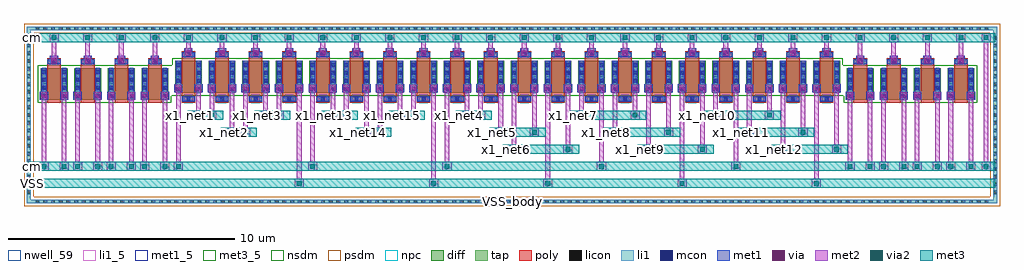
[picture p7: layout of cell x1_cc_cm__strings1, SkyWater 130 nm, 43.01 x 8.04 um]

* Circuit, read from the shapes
.subckt x1_cc_cm__strings1 VSS VSS_body cm x1_net1 x1_net10 x1_net11 x1_net12 x1_net13 x1_net14 x1_net15 x1_net2 x1_net3 x1_net4 x1_net5 x1_net6 x1_net7 x1_net8 x1_net9
XM1 cm cm cm VSS_body sky130_fd_pr__nfet_01v8 w=1.4 l=0.6 m=8
XM2 x1_net1 cm cm VSS_body sky130_fd_pr__nfet_01v8 w=1.4 l=0.6
XM3 x1_net2 cm x1_net1 VSS_body sky130_fd_pr__nfet_01v8 w=1.4 l=0.6
XM4 x1_net3 cm x1_net2 VSS_body sky130_fd_pr__nfet_01v8 w=1.4 l=0.6
XM5 VSS cm x1_net3 VSS_body sky130_fd_pr__nfet_01v8 w=1.4 l=0.6
XM6 x1_net13 cm cm VSS_body sky130_fd_pr__nfet_01v8 w=1.4 l=0.6
XM7 x1_net14 cm x1_net13 VSS_body sky130_fd_pr__nfet_01v8 w=1.4 l=0.6
XM8 x1_net15 cm x1_net14 VSS_body sky130_fd_pr__nfet_01v8 w=1.4 l=0.6
XM9 VSS cm x1_net15 VSS_body sky130_fd_pr__nfet_01v8 w=1.4 l=0.6
XM10 x1_net4 cm cm VSS_body sky130_fd_pr__nfet_01v8 w=1.4 l=0.6
XM11 x1_net5 cm x1_net4 VSS_body sky130_fd_pr__nfet_01v8 w=1.4 l=0.6
XM12 x1_net5 cm x1_net6 VSS_body sky130_fd_pr__nfet_01v8 w=1.4 l=0.6
XM13 x1_net6 cm VSS VSS_body sky130_fd_pr__nfet_01v8 w=1.4 l=0.6
XM14 cm cm x1_net7 VSS_body sky130_fd_pr__nfet_01v8 w=1.4 l=0.6
XM15 x1_net7 cm x1_net8 VSS_body sky130_fd_pr__nfet_01v8 w=1.4 l=0.6
XM16 x1_net8 cm x1_net9 VSS_body sky130_fd_pr__nfet_01v8 w=1.4 l=0.6
XM17 x1_net9 cm VSS VSS_body sky130_fd_pr__nfet_01v8 w=1.4 l=0.6
XM18 cm cm x1_net10 VSS_body sky130_fd_pr__nfet_01v8 w=1.4 l=0.6
XM19 x1_net10 cm x1_net11 VSS_body sky130_fd_pr__nfet_01v8 w=1.4 l=0.6
XM20 x1_net11 cm x1_net12 VSS_body sky130_fd_pr__nfet_01v8 w=1.4 l=0.6
XM21 x1_net12 cm VSS VSS_body sky130_fd_pr__nfet_01v8 w=1.4 l=0.6
.ends

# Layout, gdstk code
from math import pi, radians
import gdstk
lib = gdstk.Library(unit=1e-6, precision=1e-09)
def R(c, l, rs):  # rectangles x0, y0, x1, y1
    for r in rs: c.add(gdstk.rectangle(r[:2], r[2:], *l))
def A(c, l, x, y, w, h, nx, ny, dx, dy):  # array of equal rectangles
    R(c, l, [(x+i*dx, y+j*dy, x+i*dx+w, y+j*dy+h) for i in range(nx) for j in range(ny)])
nwell_59 = (64, 59)
diff = (65, 20)
tap = (65, 44)
poly = (66, 20)
licon = (66, 44)
li1_5 = (67, 5)
li1 = (67, 20)
mcon = (67, 44)
met1_5 = (68, 5)
met1 = (68, 20)
via = (68, 44)
met2 = (69, 20)
via2 = (69, 44)
met3_5 = (70, 5)
met3 = (70, 20)
nsdm = (93, 44)
psdm = (94, 20)
npc = (95, 20)

sky130_fd_pr__nfet_01v8_ = lib.new_cell('sky130_fd_pr__nfet_01v8_RUA5M6')
R(sky130_fd_pr__nfet_01v8_, diff, [(-0.59,-0.855,0.59,0.545)])
R(sky130_fd_pr__nfet_01v8_, poly, [(-0.3,-0.985,0.3,0.985)])
A(sky130_fd_pr__nfet_01v8_, licon, -0.53, -0.75, 0.17, 0.17, 1, 4, 0, 0.34)
A(sky130_fd_pr__nfet_01v8_, licon, 0.36, -0.75, 0.17, 0.17, 1, 4, 0, 0.34)
R(sky130_fd_pr__nfet_01v8_, licon, [(-0.085,0.735,0.085,0.905)])
R(sky130_fd_pr__nfet_01v8_, li1, [(-0.53,-0.875,-0.36,0.565), (0.36,-0.875,0.53,0.565), (-0.3,0.735,0.3,0.905)])
A(sky130_fd_pr__nfet_01v8_, mcon, -0.53, -0.78, 0.17, 0.17, 1, 4, 0, 0.36)
A(sky130_fd_pr__nfet_01v8_, mcon, 0.36, -0.78, 0.17, 0.17, 1, 4, 0, 0.36)
R(sky130_fd_pr__nfet_01v8_, mcon, [(-0.085,0.735,0.085,0.905)])
R(sky130_fd_pr__nfet_01v8_, met1, [(-0.56,-0.855,-0.33,0.545), (0.33,-0.855,0.56,0.545), (-0.28,0.705,0.28,0.935)])
R(sky130_fd_pr__nfet_01v8_, nsdm, [(-0.715,-0.98,0.715,0.67)])
R(sky130_fd_pr__nfet_01v8_, npc, [(-0.185,0.635,0.185,1.005)])
sky130_fd_pr__nfet_01v8_.add(gdstk.Label('D', (-0.445,-0.155), layer=67, texttype=5))
sky130_fd_pr__nfet_01v8_.add(gdstk.Label('S', (0.445,-0.155), layer=67, texttype=5))
sky130_fd_pr__nfet_01v8_.add(gdstk.Label('G', (0,0.82), layer=67, texttype=5))

nfet_01v8_w1p4_l0p6_m8__ = lib.new_cell('nfet_01v8_W1p4_L0p6_m8__nf1_gtop_sdfull_ng')
R(nfet_01v8_w1p4_l0p6_m8__, nwell_59, [(0.05,0.78,0.15,0.88)])
R(nfet_01v8_w1p4_l0p6_m8__, met1_5, [(0.03,0.83,0.26,1.03), (0.92,0.83,1.15,1.03), (0.31,1.69,0.87,1.92)])
R(nfet_01v8_w1p4_l0p6_m8__, met1, [(0.03,0.83,0.26,1.03), (0.92,0.83,1.15,1.03), (0.31,1.69,0.87,1.92)])
nfet_01v8_w1p4_l0p6_m8__.add(gdstk.Reference(sky130_fd_pr__nfet_01v8_, (0.59,0.985)))
nfet_01v8_w1p4_l0p6_m8__.add(gdstk.Label('D', (0.145,0.93), layer=68, texttype=5))
nfet_01v8_w1p4_l0p6_m8__.add(gdstk.Label('S', (1.035,0.93), layer=68, texttype=5))
nfet_01v8_w1p4_l0p6_m8__.add(gdstk.Label('G', (0.59,1.805), layer=68, texttype=5))
nfet_01v8_w1p4_l0p6_m8__.add(gdstk.Label('B', (0.1,0.83), layer=64, texttype=59))

c_sky130_fd_pr__nfet_01v8_ = lib.new_cell('sky130_fd_pr__nfet_01v8_KCM6UP')
R(c_sky130_fd_pr__nfet_01v8_, diff, [(-0.59,-0.7,0.59,0.7)])
R(c_sky130_fd_pr__nfet_01v8_, poly, [(-0.3,-1.14,0.3,1.14)])
A(c_sky130_fd_pr__nfet_01v8_, licon, -0.53, -0.595, 0.17, 0.17, 1, 4, 0, 0.34)
A(c_sky130_fd_pr__nfet_01v8_, licon, 0.36, -0.595, 0.17, 0.17, 1, 4, 0, 0.34)
R(c_sky130_fd_pr__nfet_01v8_, licon, [(-0.085,-1.06,0.085,-0.89), (-0.085,0.89,0.085,1.06)])
R(c_sky130_fd_pr__nfet_01v8_, li1, [(-0.3,-1.06,0.3,-0.89), (-0.53,-0.72,-0.36,0.72), (0.36,-0.72,0.53,0.72), (-0.3,0.89,0.3,1.06)])
A(c_sky130_fd_pr__nfet_01v8_, mcon, -0.53, -0.625, 0.17, 0.17, 1, 4, 0, 0.36)
A(c_sky130_fd_pr__nfet_01v8_, mcon, 0.36, -0.625, 0.17, 0.17, 1, 4, 0, 0.36)
R(c_sky130_fd_pr__nfet_01v8_, mcon, [(-0.085,-1.06,0.085,-0.89), (-0.085,0.89,0.085,1.06)])
R(c_sky130_fd_pr__nfet_01v8_, met1, [(-0.28,-1.09,0.28,-0.86), (-0.56,-0.7,-0.33,0.7), (0.33,-0.7,0.56,0.7), (-0.28,0.86,0.28,1.09)])
R(c_sky130_fd_pr__nfet_01v8_, nsdm, [(-0.715,-0.825,0.715,0.825)])
R(c_sky130_fd_pr__nfet_01v8_, npc, [(-0.185,-1.16,0.185,-0.79), (-0.185,0.79,0.185,1.16)])
c_sky130_fd_pr__nfet_01v8_.add(gdstk.Label('D', (-0.445,0), layer=67, texttype=5))
c_sky130_fd_pr__nfet_01v8_.add(gdstk.Label('S', (0.445,0), layer=67, texttype=5))
c_sky130_fd_pr__nfet_01v8_.add(gdstk.Label('G', (0,0.975), layer=67, texttype=5))

nfet_01v8_w1p4_l0p6_m1__ = lib.new_cell('nfet_01v8_W1p4_L0p6_m1__nf1_gboth_sdfull_ng')
R(nfet_01v8_w1p4_l0p6_m1__, nwell_59, [(0.05,1.09,0.15,1.19)])
R(nfet_01v8_w1p4_l0p6_m1__, met1_5, [(0.03,1.14,0.26,1.34), (0.92,1.14,1.15,1.34), (0.31,2,0.87,2.23)])
R(nfet_01v8_w1p4_l0p6_m1__, met1, [(0.03,1.14,0.26,1.34), (0.92,1.14,1.15,1.34), (0.31,2,0.87,2.23)])
nfet_01v8_w1p4_l0p6_m1__.add(gdstk.Reference(c_sky130_fd_pr__nfet_01v8_, (0.59,1.14)))
nfet_01v8_w1p4_l0p6_m1__.add(gdstk.Label('D', (0.145,1.24), layer=68, texttype=5))
nfet_01v8_w1p4_l0p6_m1__.add(gdstk.Label('S', (1.035,1.24), layer=68, texttype=5))
nfet_01v8_w1p4_l0p6_m1__.add(gdstk.Label('G', (0.59,2.115), layer=68, texttype=5))
nfet_01v8_w1p4_l0p6_m1__.add(gdstk.Label('B', (0.1,1.14), layer=64, texttype=59))

x1_cc_cm__strings1 = lib.new_cell('x1_cc_cm__strings1')
R(x1_cc_cm__strings1, tap, [(-0.485,-4.435,42.275,-4.265), (-0.485,-4.265,-0.315,3.185), (42.105,-4.265,42.275,3.185), (-0.485,3.185,42.275,3.355)])
A(x1_cc_cm__strings1, licon, -0.1, -4.435, 0.17, 0.17, 124, 2, 0.34, 7.62)
A(x1_cc_cm__strings1, licon, -0.485, -4.025, 0.17, 0.17, 1, 21, 0, 0.34)
A(x1_cc_cm__strings1, licon, 42.105, -4.025, 0.17, 0.17, 1, 21, 0, 0.34)
R(x1_cc_cm__strings1, li1_5, [(20.845,-4.4,20.945,-4.3)])
R(x1_cc_cm__strings1, li1, [(-0.485,-4.435,42.275,-4.265), (-0.485,-4.265,-0.315,3.185), (42.105,-4.265,42.275,3.185), (-0.485,3.185,42.275,3.355)])
A(x1_cc_cm__strings1, met1, 0.535, 1.72, 0.36, 0.36, 4, 1, 1.48, 0)
A(x1_cc_cm__strings1, met1, 36.055, 1.72, 0.36, 0.36, 4, 1, 1.48, 0)
A(x1_cc_cm__strings1, met1, 6.455, 2.05, 0.36, 0.36, 20, 1, 1.48, 0)
R(x1_cc_cm__strings1, met1, [(0.09,0.13,0.45,0.49), (0.98,0.13,1.34,0.49), (1.57,0.13,1.93,0.49), (2.46,0.13,2.82,0.49), (3.05,0.13,3.41,0.49), (3.94,0.13,4.3,0.49), (4.53,0.13,4.89,0.49), (5.42,0.13,5.78,0.49), (35.61,0.13,35.97,0.49), (36.5,0.13,36.86,0.49), (37.09,0.13,37.45,0.49), (37.98,0.13,38.34,0.49), (38.57,0.13,38.93,0.49), (39.46,0.13,39.82,0.49), (40.05,0.13,40.41,0.49), (40.94,0.13,41.3,0.49), (6.01,0.46,6.37,0.82), (6.9,0.46,7.26,0.82), (7.49,0.46,7.85,0.82), (8.38,0.46,8.74,0.82), (8.97,0.46,9.33,0.82), (9.86,0.46,10.22,0.82), (10.45,0.46,10.81,0.82), (11.34,0.46,11.7,0.82), (11.93,0.46,12.29,0.82), (12.82,0.46,13.18,0.82), (13.41,0.46,13.77,0.82), (14.3,0.46,14.66,0.82), (14.89,0.46,15.25,0.82), (15.78,0.46,16.14,0.82), (16.37,0.46,16.73,0.82), (17.26,0.46,17.62,0.82), (17.85,0.46,18.21,0.82), (18.74,0.46,19.1,0.82), (19.33,0.46,19.69,0.82), (20.22,0.46,20.58,0.82), (20.81,0.46,21.17,0.82), (21.7,0.46,22.06,0.82), (22.29,0.46,22.65,0.82), (23.18,0.46,23.54,0.82), (23.77,0.46,24.13,0.82), (24.66,0.46,25.02,0.82), (25.25,0.46,25.61,0.82), (26.14,0.46,26.5,0.82), (26.73,0.46,27.09,0.82), (27.62,0.46,27.98,0.82), (28.21,0.46,28.57,0.82), (29.1,0.46,29.46,0.82), (29.69,0.46,30.05,0.82), (30.58,0.46,30.94,0.82), (31.17,0.46,31.53,0.82), (32.06,0.46,32.42,0.82), (32.65,0.46,33.01,0.82), (33.54,0.46,33.9,0.82), (34.13,0.46,34.49,0.82), (35.02,0.46,35.38,0.82)])
A(x1_cc_cm__strings1, via, 0.64, 1.825, 0.15, 0.15, 4, 1, 1.48, 0)
A(x1_cc_cm__strings1, via, 36.16, 1.825, 0.15, 0.15, 4, 1, 1.48, 0)
A(x1_cc_cm__strings1, via, 6.56, 2.155, 0.15, 0.15, 20, 1, 1.48, 0)
R(x1_cc_cm__strings1, via, [(0.195,0.235,0.345,0.385), (1.085,0.235,1.235,0.385), (1.675,0.235,1.825,0.385), (2.565,0.235,2.715,0.385), (3.155,0.235,3.305,0.385), (4.045,0.235,4.195,0.385), (4.635,0.235,4.785,0.385), (5.525,0.235,5.675,0.385), (35.715,0.235,35.865,0.385), (36.605,0.235,36.755,0.385), (37.195,0.235,37.345,0.385), (38.085,0.235,38.235,0.385), (38.675,0.235,38.825,0.385), (39.565,0.235,39.715,0.385), (40.155,0.235,40.305,0.385), (41.045,0.235,41.195,0.385), (6.115,0.565,6.265,0.715), (7.005,0.565,7.155,0.715), (7.595,0.565,7.745,0.715), (8.485,0.565,8.635,0.715), (9.075,0.565,9.225,0.715), (9.965,0.565,10.115,0.715), (10.555,0.565,10.705,0.715), (11.445,0.565,11.595,0.715), (12.035,0.565,12.185,0.715), (12.925,0.565,13.075,0.715), (13.515,0.565,13.665,0.715), (14.405,0.565,14.555,0.715), (14.995,0.565,15.145,0.715), (15.885,0.565,16.035,0.715), (16.475,0.565,16.625,0.715), (17.365,0.565,17.515,0.715), (17.955,0.565,18.105,0.715), (18.845,0.565,18.995,0.715), (19.435,0.565,19.585,0.715), (20.325,0.565,20.475,0.715), (20.915,0.565,21.065,0.715), (21.805,0.565,21.955,0.715), (22.395,0.565,22.545,0.715), (23.285,0.565,23.435,0.715), (23.875,0.565,24.025,0.715), (24.765,0.565,24.915,0.715), (25.355,0.565,25.505,0.715), (26.245,0.565,26.395,0.715), (26.835,0.565,26.985,0.715), (27.725,0.565,27.875,0.715), (28.315,0.565,28.465,0.715), (29.205,0.565,29.355,0.715), (29.795,0.565,29.945,0.715), (30.685,0.565,30.835,0.715), (31.275,0.565,31.425,0.715), (32.165,0.565,32.315,0.715), (32.755,0.565,32.905,0.715), (33.645,0.565,33.795,0.715), (34.235,0.565,34.385,0.715), (35.125,0.565,35.275,0.715)])
A(x1_cc_cm__strings1, met2, 22.27, -3.75, 0.4, 0.4, 3, 1, 5.92, 0)
A(x1_cc_cm__strings1, met2, 22.37, -3.35, 0.2, 3.83, 3, 1, 5.92, 0)
A(x1_cc_cm__strings1, met2, 5.99, -3, 0.4, 0.4, 3, 1, 5.92, 0)
A(x1_cc_cm__strings1, met2, 6.09, -2.6, 0.2, 3.08, 3, 1, 5.92, 0)
A(x1_cc_cm__strings1, met2, 0.585, 1.74, 0.26, 0.32, 4, 1, 1.48, 0)
A(x1_cc_cm__strings1, met2, 36.105, 1.74, 0.26, 0.32, 4, 1, 1.48, 0)
A(x1_cc_cm__strings1, met2, 0.615, 2.06, 0.2, 0.61, 4, 1, 1.48, 0)
A(x1_cc_cm__strings1, met2, 36.135, 2.06, 0.2, 0.61, 4, 1, 1.48, 0)
A(x1_cc_cm__strings1, met2, 6.505, 2.07, 0.26, 0.32, 20, 1, 1.48, 0)
A(x1_cc_cm__strings1, met2, 6.535, 2.39, 0.2, 0.28, 20, 1, 1.48, 0)
A(x1_cc_cm__strings1, met2, 0.515, 2.67, 0.4, 0.4, 28, 1, 1.48, 0)
R(x1_cc_cm__strings1, met2, [(11.32,-3.75,11.72,-3.35), (17.24,-3.75,17.64,-3.35), (11.42,-3.35,11.62,0.48), (17.34,-3.35,17.54,0.48), (0.07,-3,0.47,-2.6), (0.96,-3,1.36,-2.6), (1.55,-3,1.95,-2.6), (2.44,-3,2.84,-2.6), (3.03,-3,3.43,-2.6), (3.92,-3,4.32,-2.6), (4.51,-3,4.91,-2.6), (5.4,-3,5.8,-2.6), (24.64,-3,25.04,-2.6), (30.56,-3,30.96,-2.6), (35.59,-3,35.99,-2.6), (36.48,-3,36.88,-2.6), (37.07,-3,37.47,-2.6), (37.96,-3,38.36,-2.6), (38.55,-3,38.95,-2.6), (39.44,-3,39.84,-2.6), (40.03,-3,40.43,-2.6), (40.92,-3,41.32,-2.6), (41.59,-3,41.99,-2.6), (0.17,-2.6,0.37,0.15), (1.06,-2.6,1.26,0.15), (1.65,-2.6,1.85,0.15), (2.54,-2.6,2.74,0.15), (3.13,-2.6,3.33,0.15), (4.02,-2.6,4.22,0.15), (4.61,-2.6,4.81,0.15), (5.5,-2.6,5.7,0.15), (24.74,-2.6,24.94,0.48), (30.66,-2.6,30.86,0.48), (35.69,-2.6,35.89,0.15), (36.58,-2.6,36.78,0.15), (37.17,-2.6,37.37,0.15), (38.06,-2.6,38.26,0.15), (38.65,-2.6,38.85,0.15), (39.54,-2.6,39.74,0.15), (40.13,-2.6,40.33,0.15), (41.02,-2.6,41.22,0.15), (41.69,-2.6,41.89,2.67), (20.79,-2.25,21.19,-1.85), (23.16,-2.25,23.56,-1.85), (26.71,-2.25,27.11,-1.85), (29.08,-2.25,29.48,-1.85), (32.63,-2.25,33.03,-1.85), (35,-2.25,35.4,-1.85), (20.89,-1.85,21.09,0.48), (23.26,-1.85,23.46,0.48), (26.81,-1.85,27.01,0.48), (29.18,-1.85,29.38,0.48), (32.73,-1.85,32.93,0.48), (35.1,-1.85,35.3,0.48), (8.36,-1.5,8.76,-1.1), (8.95,-1.5,9.35,-1.1), (14.28,-1.5,14.68,-1.1), (14.87,-1.5,15.27,-1.1), (20.2,-1.5,20.6,-1.1), (21.68,-1.5,22.08,-1.1), (25.23,-1.5,25.63,-1.1), (27.6,-1.5,28,-1.1), (31.15,-1.5,31.55,-1.1), (33.52,-1.5,33.92,-1.1), (8.46,-1.1,8.66,0.48), (9.05,-1.1,9.25,0.48), (14.38,-1.1,14.58,0.48), (14.97,-1.1,15.17,0.48), (20.3,-1.1,20.5,0.48), (21.78,-1.1,21.98,0.48), (25.33,-1.1,25.53,0.48), (27.7,-1.1,27.9,0.48), (31.25,-1.1,31.45,0.48), (33.62,-1.1,33.82,0.48), (6.88,-0.75,7.28,-0.35), (7.47,-0.75,7.87,-0.35), (9.84,-0.75,10.24,-0.35), (10.43,-0.75,10.83,-0.35), (12.8,-0.75,13.2,-0.35), (13.39,-0.75,13.79,-0.35), (15.76,-0.75,16.16,-0.35), (16.35,-0.75,16.75,-0.35), (18.72,-0.75,19.12,-0.35), (19.31,-0.75,19.71,-0.35), (23.75,-0.75,24.15,-0.35), (26.12,-0.75,26.52,-0.35), (29.67,-0.75,30.07,-0.35), (32.04,-0.75,32.44,-0.35), (6.98,-0.35,7.18,0.48), (7.57,-0.35,7.77,0.48), (9.94,-0.35,10.14,0.48), (10.53,-0.35,10.73,0.48), (12.9,-0.35,13.1,0.48), (13.49,-0.35,13.69,0.48), (15.86,-0.35,16.06,0.48), (16.45,-0.35,16.65,0.48), (18.82,-0.35,19.02,0.48), (19.41,-0.35,19.61,0.48), (23.85,-0.35,24.05,0.48), (26.22,-0.35,26.42,0.48), (29.77,-0.35,29.97,0.48), (32.14,-0.35,32.34,0.48), (0.14,0.15,0.4,0.47), (1.03,0.15,1.29,0.47), (1.62,0.15,1.88,0.47), (2.51,0.15,2.77,0.47), (3.1,0.15,3.36,0.47), (3.99,0.15,4.25,0.47), (4.58,0.15,4.84,0.47), (5.47,0.15,5.73,0.47), (35.66,0.15,35.92,0.47), (36.55,0.15,36.81,0.47), (37.14,0.15,37.4,0.47), (38.03,0.15,38.29,0.47), (38.62,0.15,38.88,0.47), (39.51,0.15,39.77,0.47), (40.1,0.15,40.36,0.47), (40.99,0.15,41.25,0.47), (6.06,0.48,6.32,0.8), (6.95,0.48,7.21,0.8), (7.54,0.48,7.8,0.8), (8.43,0.48,8.69,0.8), (9.02,0.48,9.28,0.8), (9.91,0.48,10.17,0.8), (10.5,0.48,10.76,0.8), (11.39,0.48,11.65,0.8), (11.98,0.48,12.24,0.8), (12.87,0.48,13.13,0.8), (13.46,0.48,13.72,0.8), (14.35,0.48,14.61,0.8), (14.94,0.48,15.2,0.8), (15.83,0.48,16.09,0.8), (16.42,0.48,16.68,0.8), (17.31,0.48,17.57,0.8), (17.9,0.48,18.16,0.8), (18.79,0.48,19.05,0.8), (19.38,0.48,19.64,0.8), (20.27,0.48,20.53,0.8), (20.86,0.48,21.12,0.8), (21.75,0.48,22.01,0.8), (22.34,0.48,22.6,0.8), (23.23,0.48,23.49,0.8), (23.82,0.48,24.08,0.8), (24.71,0.48,24.97,0.8), (25.3,0.48,25.56,0.8), (26.19,0.48,26.45,0.8), (26.78,0.48,27.04,0.8), (27.67,0.48,27.93,0.8), (28.26,0.48,28.52,0.8), (29.15,0.48,29.41,0.8), (29.74,0.48,30,0.8), (30.63,0.48,30.89,0.8), (31.22,0.48,31.48,0.8), (32.11,0.48,32.37,0.8), (32.7,0.48,32.96,0.8), (33.59,0.48,33.85,0.8), (34.18,0.48,34.44,0.8), (35.07,0.48,35.33,0.8), (41.59,2.67,41.99,3.07)])
A(x1_cc_cm__strings1, via2, 22.37, -3.65, 0.2, 0.2, 3, 1, 5.92, 0)
A(x1_cc_cm__strings1, via2, 6.09, -2.9, 0.2, 0.2, 3, 1, 5.92, 0)
A(x1_cc_cm__strings1, via2, 0.615, 2.77, 0.2, 0.2, 28, 1, 1.48, 0)
R(x1_cc_cm__strings1, via2, [(11.42,-3.65,11.62,-3.45), (17.34,-3.65,17.54,-3.45), (0.17,-2.9,0.37,-2.7), (1.06,-2.9,1.26,-2.7), (1.65,-2.9,1.85,-2.7), (2.54,-2.9,2.74,-2.7), (3.13,-2.9,3.33,-2.7), (4.02,-2.9,4.22,-2.7), (4.61,-2.9,4.81,-2.7), (5.5,-2.9,5.7,-2.7), (24.74,-2.9,24.94,-2.7), (30.66,-2.9,30.86,-2.7), (35.69,-2.9,35.89,-2.7), (36.58,-2.9,36.78,-2.7), (37.17,-2.9,37.37,-2.7), (38.06,-2.9,38.26,-2.7), (38.65,-2.9,38.85,-2.7), (39.54,-2.9,39.74,-2.7), (40.13,-2.9,40.33,-2.7), (41.02,-2.9,41.22,-2.7), (41.69,-2.9,41.89,-2.7), (20.89,-2.15,21.09,-1.95), (23.26,-2.15,23.46,-1.95), (26.81,-2.15,27.01,-1.95), (29.18,-2.15,29.38,-1.95), (32.73,-2.15,32.93,-1.95), (35.1,-2.15,35.3,-1.95), (8.46,-1.4,8.66,-1.2), (9.05,-1.4,9.25,-1.2), (14.38,-1.4,14.58,-1.2), (14.97,-1.4,15.17,-1.2), (20.3,-1.4,20.5,-1.2), (21.78,-1.4,21.98,-1.2), (25.33,-1.4,25.53,-1.2), (27.7,-1.4,27.9,-1.2), (31.25,-1.4,31.45,-1.2), (33.62,-1.4,33.82,-1.2), (6.98,-0.65,7.18,-0.45), (7.57,-0.65,7.77,-0.45), (9.94,-0.65,10.14,-0.45), (10.53,-0.65,10.73,-0.45), (12.9,-0.65,13.1,-0.45), (13.49,-0.65,13.69,-0.45), (15.86,-0.65,16.06,-0.45), (16.45,-0.65,16.65,-0.45), (18.82,-0.65,19.02,-0.45), (19.41,-0.65,19.61,-0.45), (23.85,-0.65,24.05,-0.45), (26.22,-0.65,26.42,-0.45), (29.77,-0.65,29.97,-0.45), (32.14,-0.65,32.34,-0.45), (41.69,2.77,41.89,2.97)])
A(x1_cc_cm__strings1, met3_5, 20.59, -2.1, 0.1, 0.1, 3, 1, 5.92, 0)
A(x1_cc_cm__strings1, met3_5, 8.16, -1.35, 0.1, 0.1, 3, 1, 5.92, 0)
A(x1_cc_cm__strings1, met3_5, 6.68, -0.6, 0.1, 0.1, 5, 1, 2.96, 0)
R(x1_cc_cm__strings1, met3_5, [(-0.3,-3.6,-0.2,-3.5), (-0.3,-2.85,-0.2,-2.75), (25.03,-1.35,25.13,-1.25), (30.95,-1.35,31.05,-1.25), (23.55,-0.6,23.65,-0.5), (29.47,-0.6,29.57,-0.5), (-0.3,2.82,-0.2,2.92)])
A(x1_cc_cm__strings1, met3, 20.49, -2.25, 3.37, 0.4, 3, 1, 5.92, 0)
A(x1_cc_cm__strings1, met3, 6.58, -0.75, 1.59, 0.4, 5, 1, 2.96, 0)
R(x1_cc_cm__strings1, met3, [(-0.4,-3.75,42.19,-3.35), (-0.4,-3,42.19,-2.6), (8.06,-1.5,9.65,-1.1), (13.98,-1.5,15.57,-1.1), (19.9,-1.5,22.38,-1.1), (24.93,-1.5,28.3,-1.1), (30.85,-1.5,34.22,-1.1), (23.45,-0.75,26.82,-0.35), (29.37,-0.75,32.74,-0.35), (-0.4,2.67,42.19,3.07)])
A(x1_cc_cm__strings1, nsdm, 1.435, 0.005, 0.05, 1.65, 3, 1, 1.48, 0)
A(x1_cc_cm__strings1, nsdm, 36.955, 0.005, 0.05, 1.65, 3, 1, 1.48, 0)
A(x1_cc_cm__strings1, nsdm, 7.355, 0.315, 0.05, 1.65, 19, 1, 1.48, 0)
R(x1_cc_cm__strings1, nsdm, [(5.875,0.315,5.925,1.655), (35.475,0.315,35.525,1.655)])
R(x1_cc_cm__strings1, psdm, [(-0.61,-4.56,42.4,-4.14), (-0.61,-4.14,-0.19,3.06), (41.98,-4.14,42.4,3.06), (-0.61,3.06,42.4,3.48)])
x1_cc_cm__strings1.add(gdstk.Reference(nfet_01v8_w1p4_l0p6_m8__, (40.09,0)))
x1_cc_cm__strings1.add(gdstk.Reference(nfet_01v8_w1p4_l0p6_m8__, (38.61,0)))
x1_cc_cm__strings1.add(gdstk.Reference(nfet_01v8_w1p4_l0p6_m8__, (37.13,0)))
x1_cc_cm__strings1.add(gdstk.Reference(nfet_01v8_w1p4_l0p6_m8__, (35.65,0)))
x1_cc_cm__strings1.add(gdstk.Reference(nfet_01v8_w1p4_l0p6_m8__, (4.57,0)))
x1_cc_cm__strings1.add(gdstk.Reference(nfet_01v8_w1p4_l0p6_m8__, (3.09,0)))
x1_cc_cm__strings1.add(gdstk.Reference(nfet_01v8_w1p4_l0p6_m8__, (1.61,0)))
x1_cc_cm__strings1.add(gdstk.Reference(nfet_01v8_w1p4_l0p6_m8__, (0.13,0)))
x1_cc_cm__strings1.add(gdstk.Reference(nfet_01v8_w1p4_l0p6_m1__, (6.05,0)))
x1_cc_cm__strings1.add(gdstk.Reference(nfet_01v8_w1p4_l0p6_m1__, (7.53,0)))
x1_cc_cm__strings1.add(gdstk.Reference(nfet_01v8_w1p4_l0p6_m1__, (9.01,0)))
x1_cc_cm__strings1.add(gdstk.Reference(nfet_01v8_w1p4_l0p6_m1__, (10.49,0)))
x1_cc_cm__strings1.add(gdstk.Reference(nfet_01v8_w1p4_l0p6_m1__, (11.97,0)))
x1_cc_cm__strings1.add(gdstk.Reference(nfet_01v8_w1p4_l0p6_m1__, (13.45,0)))
x1_cc_cm__strings1.add(gdstk.Reference(nfet_01v8_w1p4_l0p6_m1__, (14.93,0)))
x1_cc_cm__strings1.add(gdstk.Reference(nfet_01v8_w1p4_l0p6_m1__, (16.41,0)))
x1_cc_cm__strings1.add(gdstk.Reference(nfet_01v8_w1p4_l0p6_m1__, (17.89,0)))
x1_cc_cm__strings1.add(gdstk.Reference(nfet_01v8_w1p4_l0p6_m1__, (19.37,0)))
x1_cc_cm__strings1.add(gdstk.Reference(nfet_01v8_w1p4_l0p6_m1__, (22.03,0), rotation=pi, x_reflection=True))
x1_cc_cm__strings1.add(gdstk.Reference(nfet_01v8_w1p4_l0p6_m1__, (23.51,0), rotation=pi, x_reflection=True))
x1_cc_cm__strings1.add(gdstk.Reference(nfet_01v8_w1p4_l0p6_m1__, (24.99,0), rotation=pi, x_reflection=True))
x1_cc_cm__strings1.add(gdstk.Reference(nfet_01v8_w1p4_l0p6_m1__, (26.47,0), rotation=pi, x_reflection=True))
x1_cc_cm__strings1.add(gdstk.Reference(nfet_01v8_w1p4_l0p6_m1__, (27.95,0), rotation=pi, x_reflection=True))
x1_cc_cm__strings1.add(gdstk.Reference(nfet_01v8_w1p4_l0p6_m1__, (29.43,0), rotation=pi, x_reflection=True))
x1_cc_cm__strings1.add(gdstk.Reference(nfet_01v8_w1p4_l0p6_m1__, (30.91,0), rotation=pi, x_reflection=True))
x1_cc_cm__strings1.add(gdstk.Reference(nfet_01v8_w1p4_l0p6_m1__, (32.39,0), rotation=pi, x_reflection=True))
x1_cc_cm__strings1.add(gdstk.Reference(nfet_01v8_w1p4_l0p6_m1__, (33.87,0), rotation=pi, x_reflection=True))
x1_cc_cm__strings1.add(gdstk.Reference(nfet_01v8_w1p4_l0p6_m1__, (35.35,0), rotation=pi, x_reflection=True))
x1_cc_cm__strings1.add(gdstk.Label('cm', (-0.25,2.87), layer=70, texttype=5))
x1_cc_cm__strings1.add(gdstk.Label('cm', (-0.25,-2.8), layer=70, texttype=5))
x1_cc_cm__strings1.add(gdstk.Label('x1_net1', (6.73,-0.55), layer=70, texttype=5))
x1_cc_cm__strings1.add(gdstk.Label('x1_net2', (8.21,-1.3), layer=70, texttype=5))
x1_cc_cm__strings1.add(gdstk.Label('x1_net3', (9.69,-0.55), layer=70, texttype=5))
x1_cc_cm__strings1.add(gdstk.Label('VSS', (-0.25,-3.55), layer=70, texttype=5))
x1_cc_cm__strings1.add(gdstk.Label('x1_net13', (12.65,-0.55), layer=70, texttype=5))
x1_cc_cm__strings1.add(gdstk.Label('x1_net14', (14.13,-1.3), layer=70, texttype=5))
x1_cc_cm__strings1.add(gdstk.Label('x1_net15', (15.61,-0.55), layer=70, texttype=5))
x1_cc_cm__strings1.add(gdstk.Label('x1_net4', (18.57,-0.55), layer=70, texttype=5))
x1_cc_cm__strings1.add(gdstk.Label('x1_net5', (20.05,-1.3), layer=70, texttype=5))
x1_cc_cm__strings1.add(gdstk.Label('x1_net6', (20.64,-2.05), layer=70, texttype=5))
x1_cc_cm__strings1.add(gdstk.Label('x1_net7', (23.6,-0.55), layer=70, texttype=5))
x1_cc_cm__strings1.add(gdstk.Label('x1_net8', (25.08,-1.3), layer=70, texttype=5))
x1_cc_cm__strings1.add(gdstk.Label('x1_net9', (26.56,-2.05), layer=70, texttype=5))
x1_cc_cm__strings1.add(gdstk.Label('x1_net10', (29.52,-0.55), layer=70, texttype=5))
x1_cc_cm__strings1.add(gdstk.Label('x1_net11', (31,-1.3), layer=70, texttype=5))
x1_cc_cm__strings1.add(gdstk.Label('x1_net12', (32.48,-2.05), layer=70, texttype=5))
x1_cc_cm__strings1.add(gdstk.Label('VSS_body', (20.895,-4.35), layer=67, texttype=5))

lib.write_gds('x1_cc_cm__strings1.gds')
